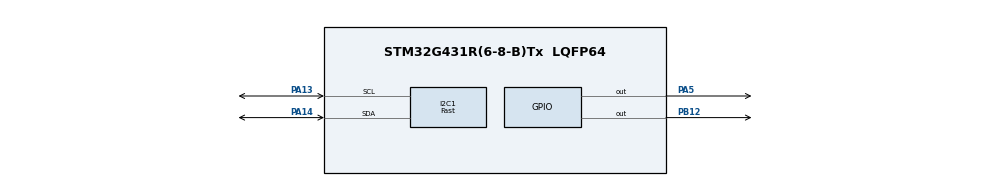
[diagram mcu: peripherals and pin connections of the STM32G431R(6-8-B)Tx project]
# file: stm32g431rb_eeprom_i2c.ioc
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I2C1.I2C_Speed_Mode=I2C_Fast
I2C1.OwnAddress=0x0
I2C1.Timing=0x10802D9B
Mcu.Family=STM32G4
Mcu.Name=STM32G431R(6-8-B)Tx
Mcu.Package=LQFP64
NVIC.PriorityGroup=NVIC_PRIORITYGROUP_4
PA13.Mode=I2C
PA13.Signal=I2C1_SCL
PA14.Mode=I2C
PA14.Signal=I2C1_SDA
PA5.Signal=GPIO_Output
PB12.PinState=GPIO_PIN_SET
PB12.Signal=GPIO_Output
ProjectManager.HeapSize=0x200
ProjectManager.StackSize=0x400
ProjectManager.TargetToolchain=STM32CubeIDE
RCC.ADC12Freq_Value=170000000
RCC.AHBFreq_Value=170000000
RCC.APB1Freq_Value=170000000
RCC.APB1TimFreq_Value=170000000
RCC.APB2Freq_Value=170000000
RCC.APB2TimFreq_Value=170000000
RCC.CortexFreq_Value=170000000
RCC.EXTERNAL_CLOCK_VALUE=12288000
RCC.HCLKFreq_Value=170000000
RCC.HSE_VALUE=8000000
RCC.HSI48_VALUE=48000000
RCC.HSI_VALUE=16000000
RCC.LSE_VALUE=32768
RCC.PLLM=RCC_PLLM_DIV4
RCC.PLLN=85
RCC.PWR_Regulator_Voltage_Scale=PWR_REGULATOR_VOLTAGE_SCALE1_BOOST
RCC.SYSCLKFreq_VALUE=170000000
RCC.SYSCLKSource=RCC_SYSCLKSOURCE_PLLCLK
RCC.USBFreq_Value=170000000
RCC.VCOOutputFreq_Value=340000000
VP_SYS_VS_DBSignals.Mode=DisableDeadBatterySignals
board=custom

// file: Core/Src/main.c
/* USER CODE BEGIN Header */
/**
  ******************************************************************************
  * @file           : main.c
  * @brief          : Main program body
  ******************************************************************************
  * @attention
  *
  * Copyright (c) 2023 STMicroelectronics.
  * All rights reserved.
  *
  * This software is licensed under terms that can be found in the LICENSE file
  * in the root directory of this software component.
  * If no LICENSE file comes with this software, it is provided AS-IS.
  *
  ******************************************************************************
  */
/* USER CODE END Header */
#include "main.h"

/* USER CODE BEGIN Includes */
#include "string.h"
/* USER CODE END Includes */

void SystemClock_Config(void);
static void MX_GPIO_Init(void);
static void MX_I2C1_Init(void);

/* USER CODE BEGIN 0 */
#define M24C04

#define I2C_DEVICE_ADDR (0xA8) /*should be changed depends : 1  0  1  0 E2 E1 A8 RW */

static int8_t i2c_write_page_eeprom(uint16_t address, uint8_t *buffer, uint16_t size);
static int8_t i2c_write_eeprom(uint16_t address, uint8_t *buffer, uint16_t size);
static int8_t i2c_read_eeprom(uint16_t address, uint8_t *buffer, uint16_t size);
static int8_t i2c_read_seq_eeprom(uint16_t address, uint8_t *buffer, uint16_t size);

#define MAX_LEN (512)
uint8_t rx_buff[MAX_LEN];
uint8_t tx_buff[MAX_LEN] = {
    0xA0, 0xA1, 0xA2, 0xA3, 0xA4, 0xA5, 0xA6, 0xA7, 0xA8, 0x09, 0x0A, 0x0B, 0x0C, 0x0D, 0x0E, 0x0F,
    0x10, 0x11, 0x12, 0x13, 0x14, 0x15, 0x16, 0x17, 0x18, 0x19, 0x1A, 0x1B, 0x1C, 0x1D, 0x1E, 0x1F,
    0x20, 0x21, 0x22, 0x23, 0x24, 0x25, 0x26, 0x27, 0x28, 0x29, 0x2A, 0x2B, 0x2C, 0x2D, 0x2E, 0x2F,
    0x30, 0x31, 0x32, 0x33, 0x34, 0x35, 0x36, 0x37, 0x38, 0x39, 0x3A, 0x3B, 0x3C, 0x3D, 0x3E, 0x3F,
    0x40, 0x41, 0x42, 0x43, 0x44, 0x45, 0x46, 0x47, 0x48, 0x49, 0x4A, 0x4B, 0x4C, 0x4D, 0x4E, 0x4F,
    0x50, 0x51, 0x52, 0x53, 0x54, 0x55, 0x56, 0x57, 0x58, 0x59, 0x5A, 0x5B, 0x5C, 0x5D, 0x5E, 0x5F,
    0x60, 0x61, 0x62, 0x63, 0x64, 0x65, 0x66, 0x67, 0x68, 0x69, 0x6A, 0x6B, 0x6C, 0x6D, 0x6E, 0x6F,
    0x70, 0x71, 0x72, 0x73, 0x74, 0x75, 0x76, 0x77, 0x78, 0x79, 0x7A, 0x7B, 0x7C, 0x7D, 0x7E, 0x7F,
    0x80, 0x81, 0x82, 0x83, 0x84, 0x85, 0x86, 0x87, 0x88, 0x89, 0x8A, 0x8B, 0x8C, 0x8D, 0x8E, 0x8F,
    0x90, 0x91, 0x92, 0x93, 0x94, 0x95, 0x96, 0x97, 0x98, 0x99, 0x9A, 0x9B, 0x9C, 0x9D, 0x9E, 0x9F,
    0xA0, 0xA1, 0xA2, 0xA3, 0xA4, 0xA5, 0xA6, 0xA7, 0xA8, 0xA9, 0xAA, 0xAB, 0xAC, 0xAD, 0xAE, 0xAF,
    0xB0, 0xB1, 0xB2, 0xB3, 0xB4, 0xB5, 0xB6, 0xB7, 0xB8, 0xB9, 0xBA, 0xBB, 0xBC, 0xBD, 0xBE, 0xBF,
    0xC0, 0xC1, 0xC2, 0xC3, 0xC4, 0xC5, 0xC6, 0xC7, 0xC8, 0xC9, 0xCA, 0xCB, 0xCC, 0xCD, 0xCE, 0xCF,
    0xD0, 0xD1, 0xD2, 0xD3, 0xD4, 0xD5, 0xD6, 0xD7, 0xD8, 0xD9, 0xDA, 0xDB, 0xDC, 0xDD, 0xDE, 0xDF,
    0xE0, 0xE1, 0xE2, 0xE3, 0xE4, 0xE5, 0xE6, 0xE7, 0xE8, 0xE9, 0xEA, 0xEB, 0xEC, 0xED, 0xEE, 0xEF,
    0xF0, 0xF1, 0xF2, 0xF3, 0xF4, 0xF5, 0xF6, 0xF7, 0xF8, 0xF9, 0xFA, 0xFB, 0xFC, 0xFD, 0xFE, 0x00,
    0x00, 0x01, 0x02, 0x03, 0x04, 0x05, 0x06, 0x07, 0x08, 0x09, 0x0A, 0x0B, 0x0C, 0x0D, 0x0E, 0x0F,
    0x10, 0x11, 0x12, 0x13, 0x14, 0x15, 0x16, 0x17, 0x18, 0x19, 0x1A, 0x1B, 0x1C, 0x1D, 0x1E, 0x1F,
    0x20, 0x21, 0x22, 0x23, 0x24, 0x25, 0x26, 0x27, 0x28, 0x29, 0x2A, 0x2B, 0x2C, 0x2D, 0x2E, 0x2F,
    0x30, 0x31, 0x32, 0x33, 0x34, 0x35, 0x36, 0x37, 0x38, 0x39, 0x3A, 0x3B, 0x3C, 0x3D, 0x3E, 0x3F,
    0x40, 0x41, 0x42, 0x43, 0x44, 0x45, 0x46, 0x47, 0x48, 0x49, 0x4A, 0x4B, 0x4C, 0x4D, 0x4E, 0x4F,
    0x50, 0x51, 0x52, 0x53, 0x54, 0x55, 0x56, 0x57, 0x58, 0x59, 0x5A, 0x5B, 0x5C, 0x5D, 0x5E, 0x5F,
    0x60, 0x61, 0x62, 0x63, 0x64, 0x65, 0x66, 0x67, 0x68, 0x69, 0x6A, 0x6B, 0x6C, 0x6D, 0x6E, 0x6F,
    0x70, 0x71, 0x72, 0x73, 0x74, 0x75, 0x76, 0x77, 0x78, 0x79, 0x7A, 0x7B, 0x7C, 0x7D, 0x7E, 0x7F,
    0x80, 0x81, 0x82, 0x83, 0x84, 0x85, 0x86, 0x87, 0x88, 0x89, 0x8A, 0x8B, 0x8C, 0x8D, 0x8E, 0x8F,
    0x90, 0x91, 0x92, 0x93, 0x94, 0x95, 0x96, 0x97, 0x98, 0x99, 0x9A, 0x9B, 0x9C, 0x9D, 0x9E, 0x9F,
    0xA0, 0xA1, 0xA2, 0xA3, 0xA4, 0xA5, 0xA6, 0xA7, 0xA8, 0xA9, 0xAA, 0xAB, 0xAC, 0xAD, 0xAE, 0xAF,
    0xB0, 0xB1, 0xB2, 0xB3, 0xB4, 0xB5, 0xB6, 0xB7, 0xB8, 0xB9, 0xBA, 0xBB, 0xBC, 0xBD, 0xBE, 0xBF,
    0xC0, 0xC1, 0xC2, 0xC3, 0xC4, 0xC5, 0xC6, 0xC7, 0xC8, 0xC9, 0xCA, 0xCB, 0xCC, 0xCD, 0xCE, 0xCF,
    0xD0, 0xD1, 0xD2, 0xD3, 0xD4, 0xD5, 0xD6, 0xD7, 0xD8, 0xD9, 0xDA, 0xDB, 0xDC, 0xDD, 0xDE, 0xDF,
    0xE0, 0xE1, 0xE2, 0xE3, 0xE4, 0xE5, 0xE6, 0xE7, 0xE8, 0xE9, 0xEA, 0xEB, 0xEC, 0xED, 0xEE, 0xEF,
    0xF0, 0xF1, 0xF2, 0xF3, 0xF4, 0xF5, 0xF6, 0xF7, 0xF8, 0xF9, 0x40, 0x41, 0x42, 0x43, 0x44, 0x45,
};

uint8_t tx_buff16[16] = {
    0xB0, 0xB1, 0xB2, 0xB3, 0xB4, 0xB5, 0xB6, 0xB7, 0xB8, 0xB9, 0xBA, 0xBB, 0xBC, 0xBD, 0xBE, 0xBF,
};
/* USER CODE END 0 */

int main(void)
{
  /* USER CODE BEGIN 1 */
  memset(rx_buff, 0x00, MAX_LEN);
  /* USER CODE END 1 */

  /* MCU Configuration--------------------------------------------------------*/

  /* Reset of all peripherals, Initializes the Flash interface and the Systick. */
  LL_APB2_GRP1_EnableClock(LL_APB2_GRP1_PERIPH_SYSCFG);
  LL_APB1_GRP1_EnableClock(LL_APB1_GRP1_PERIPH_PWR);

  /* System interrupt init*/
  NVIC_SetPriorityGrouping(NVIC_PRIORITYGROUP_4);

  /* SysTick_IRQn interrupt configuration */
  NVIC_SetPriority(SysTick_IRQn, NVIC_EncodePriority(NVIC_GetPriorityGrouping(),15, 0));

  /** Disable the internal Pull-Up in Dead Battery pins of UCPD peripheral
  */
  LL_PWR_DisableUCPDDeadBattery();

  /* Configure the system clock */
  SystemClock_Config();

  /* Initialize all configured peripherals */
  MX_GPIO_Init();
  MX_I2C1_Init();

  /* Infinite loop */
  /* USER CODE BEGIN WHILE */
  if(i2c_write_page_eeprom(0x0010, tx_buff16, 16) != 0)
  {
    Error_Handler();
  }

  if(i2c_read_eeprom(0x0000, rx_buff, MAX_LEN) != 0)
  {
    Error_Handler();
  }

  while (1)
  {
    LL_GPIO_TogglePin(GPIOA, LL_GPIO_PIN_5);
    LL_mDelay(5);

    if(i2c_write_eeprom(0x0000, tx_buff, MAX_LEN) != 0)
    {
      Error_Handler();
    }

    if(i2c_read_seq_eeprom(0x0000, rx_buff, MAX_LEN) != 0) /* over 256 ... have problem */
    {
      Error_Handler();
    }

    for(int i=0; i<MAX_LEN; i++)
    {
      if(tx_buff[i] != rx_buff[i])
      {
        Error_Handler();
      }
    }
    /* USER CODE END WHILE */

  }
}

void SystemClock_Config(void)
{
  LL_FLASH_SetLatency(LL_FLASH_LATENCY_4);
  while(LL_FLASH_GetLatency() != LL_FLASH_LATENCY_4)
  {
  }
  LL_PWR_EnableRange1BoostMode();
  LL_RCC_HSI_Enable();
   /* Wait till HSI is ready */
  while(LL_RCC_HSI_IsReady() != 1)
  {
  }

  LL_RCC_HSI_SetCalibTrimming(64);
  LL_RCC_PLL_ConfigDomain_SYS(LL_RCC_PLLSOURCE_HSI, LL_RCC_PLLM_DIV_4, 85, LL_RCC_PLLR_DIV_2);
  LL_RCC_PLL_EnableDomain_SYS();
  LL_RCC_PLL_Enable();
   /* Wait till PLL is ready */
  while(LL_RCC_PLL_IsReady() != 1)
  {
  }

  LL_RCC_SetSysClkSource(LL_RCC_SYS_CLKSOURCE_PLL);
  LL_RCC_SetAHBPrescaler(LL_RCC_SYSCLK_DIV_2);
   /* Wait till System clock is ready */
  while(LL_RCC_GetSysClkSource() != LL_RCC_SYS_CLKSOURCE_STATUS_PLL)
  {
  }

  /* Insure 1�s transition state at intermediate medium speed clock*/
  for (__IO uint32_t i = (170 >> 1); i !=0; i--);

  /* Set AHB prescaler*/
  LL_RCC_SetAHBPrescaler(LL_RCC_SYSCLK_DIV_1);
  LL_RCC_SetAPB1Prescaler(LL_RCC_APB1_DIV_1);
  LL_RCC_SetAPB2Prescaler(LL_RCC_APB2_DIV_1);

  LL_Init1msTick(170000000);

  LL_SetSystemCoreClock(170000000);
}

static void MX_I2C1_Init(void)
{

  /* USER CODE BEGIN I2C1_Init 0 */
#ifdef M24C04_
  /* USER CODE END I2C1_Init 0 */

  LL_I2C_InitTypeDef I2C_InitStruct = {0};

  LL_GPIO_InitTypeDef GPIO_InitStruct = {0};

  LL_RCC_SetI2CClockSource(LL_RCC_I2C1_CLKSOURCE_PCLK1);

  LL_AHB2_GRP1_EnableClock(LL_AHB2_GRP1_PERIPH_GPIOB);
  /**I2C1 GPIO Configuration
  PB8-BOOT0   ------> I2C1_SCL
  PB9   ------> I2C1_SDA
  */
  GPIO_InitStruct.Pin = LL_GPIO_PIN_8;
  GPIO_InitStruct.Mode = LL_GPIO_MODE_ALTERNATE;
  GPIO_InitStruct.Speed = LL_GPIO_SPEED_FREQ_LOW;
  GPIO_InitStruct.OutputType = LL_GPIO_OUTPUT_OPENDRAIN;
  GPIO_InitStruct.Pull = LL_GPIO_PULL_NO;
  GPIO_InitStruct.Alternate = LL_GPIO_AF_4;
  LL_GPIO_Init(GPIOB, &GPIO_InitStruct);

  GPIO_InitStruct.Pin = LL_GPIO_PIN_9;
  GPIO_InitStruct.Mode = LL_GPIO_MODE_ALTERNATE;
  GPIO_InitStruct.Speed = LL_GPIO_SPEED_FREQ_LOW;
  GPIO_InitStruct.OutputType = LL_GPIO_OUTPUT_OPENDRAIN;
  GPIO_InitStruct.Pull = LL_GPIO_PULL_NO;
  GPIO_InitStruct.Alternate = LL_GPIO_AF_4;
  LL_GPIO_Init(GPIOB, &GPIO_InitStruct);

  /* Peripheral clock enable */
  LL_APB1_GRP1_EnableClock(LL_APB1_GRP1_PERIPH_I2C1);

  /* USER CODE BEGIN I2C1_Init 1 */
#else
  LL_I2C_InitTypeDef I2C_InitStruct = {0};

  LL_GPIO_InitTypeDef GPIO_InitStruct = {0};

  LL_RCC_SetI2CClockSource(LL_RCC_I2C1_CLKSOURCE_PCLK1);

  LL_AHB2_GRP1_EnableClock(LL_AHB2_GRP1_PERIPH_GPIOB);
  /**I2C1 GPIO Configuration
  PB8-BOOT0   ------> I2C1_SCL
  PB9   ------> I2C1_SDA
  */
  GPIO_InitStruct.Pin = LL_GPIO_PIN_8;
  GPIO_InitStruct.Mode = LL_GPIO_MODE_ALTERNATE;
  GPIO_InitStruct.Speed = LL_GPIO_SPEED_FREQ_LOW;
  GPIO_InitStruct.OutputType = LL_GPIO_OUTPUT_OPENDRAIN;
  GPIO_InitStruct.Pull = LL_GPIO_PULL_NO;
  GPIO_InitStruct.Alternate = LL_GPIO_AF_4;
  LL_GPIO_Init(GPIOB, &GPIO_InitStruct);

  GPIO_InitStruct.Pin = LL_GPIO_PIN_9;
  GPIO_InitStruct.Mode = LL_GPIO_MODE_ALTERNATE;
  GPIO_InitStruct.Speed = LL_GPIO_SPEED_FREQ_LOW;
  GPIO_InitStruct.OutputType = LL_GPIO_OUTPUT_OPENDRAIN;
  GPIO_InitStruct.Pull = LL_GPIO_PULL_NO;
  GPIO_InitStruct.Alternate = LL_GPIO_AF_4;
  LL_GPIO_Init(GPIOB, &GPIO_InitStruct);

  /* Peripheral clock enable */
  LL_APB1_GRP1_EnableClock(LL_APB1_GRP1_PERIPH_I2C1);
#endif
  /* USER CODE END I2C1_Init 1 */

  /** I2C Initialization
  */
  LL_I2C_DisableClockStretching(I2C1);
  I2C_InitStruct.PeripheralMode = LL_I2C_MODE_I2C;
  I2C_InitStruct.Timing = 0xC030334C;
  I2C_InitStruct.AnalogFilter = LL_I2C_ANALOGFILTER_ENABLE;
  I2C_InitStruct.DigitalFilter = 0;
  I2C_InitStruct.OwnAddress1 = 0;
  I2C_InitStruct.TypeAcknowledge = LL_I2C_ACK;
  I2C_InitStruct.OwnAddrSize = LL_I2C_OWNADDRESS1_7BIT;
  LL_I2C_Init(I2C1, &I2C_InitStruct);
  LL_I2C_EnableAutoEndMode(I2C1);
  LL_I2C_SetOwnAddress2(I2C1, 0, LL_I2C_OWNADDRESS2_NOMASK);
  LL_I2C_DisableOwnAddress2(I2C1);
  LL_I2C_DisableGeneralCall(I2C1);

}

static void MX_GPIO_Init(void)
{
  LL_GPIO_InitTypeDef GPIO_InitStruct = {0};

  /* GPIO Ports Clock Enable */
  LL_AHB2_GRP1_EnableClock(LL_AHB2_GRP1_PERIPH_GPIOA);
  LL_AHB2_GRP1_EnableClock(LL_AHB2_GRP1_PERIPH_GPIOB);
  LL_AHB2_GRP1_EnableClock(LL_AHB2_GRP1_PERIPH_GPIOC);

  /**/
  LL_GPIO_ResetOutputPin(GPIOA, LL_GPIO_PIN_5);

  /**/
  LL_GPIO_SetOutputPin(GPIOB, LL_GPIO_PIN_12);

  /**/
  LL_GPIO_SetOutputPin(GPIOC, LL_GPIO_PIN_9);

  /**/
  GPIO_InitStruct.Pin = LL_GPIO_PIN_5;
  GPIO_InitStruct.Mode = LL_GPIO_MODE_OUTPUT;
  GPIO_InitStruct.Speed = LL_GPIO_SPEED_FREQ_LOW;
  GPIO_InitStruct.OutputType = LL_GPIO_OUTPUT_PUSHPULL;
  GPIO_InitStruct.Pull = LL_GPIO_PULL_NO;
  LL_GPIO_Init(GPIOA, &GPIO_InitStruct);

  /**/
  GPIO_InitStruct.Pin = LL_GPIO_PIN_12;
  GPIO_InitStruct.Mode = LL_GPIO_MODE_OUTPUT;
  GPIO_InitStruct.Speed = LL_GPIO_SPEED_FREQ_LOW;
  GPIO_InitStruct.OutputType = LL_GPIO_OUTPUT_PUSHPULL;
  GPIO_InitStruct.Pull = LL_GPIO_PULL_NO;
  LL_GPIO_Init(GPIOB, &GPIO_InitStruct);

  /**/
  GPIO_InitStruct.Pin = LL_GPIO_PIN_9;
  GPIO_InitStruct.Mode = LL_GPIO_MODE_OUTPUT;
  GPIO_InitStruct.Speed = LL_GPIO_SPEED_FREQ_LOW;
  GPIO_InitStruct.OutputType = LL_GPIO_OUTPUT_PUSHPULL;
  GPIO_InitStruct.Pull = LL_GPIO_PULL_NO;
  LL_GPIO_Init(GPIOC, &GPIO_InitStruct);

}

/* USER CODE BEGIN 4 */
static void i2c_soft_reset(void)
{
  I2C1->CR2 &= (uint32_t)~((uint32_t)(I2C_CR2_SADD | I2C_CR2_HEAD10R | I2C_CR2_NBYTES | I2C_CR2_RELOAD | I2C_CR2_RD_WRN));
  I2C1->CR1 &= ~I2C_CR1_PE;

  while(I2C1->CR1 & I2C_CR1_PE){};
  I2C1->CR1 |= I2C_CR1_PE;
}

static int8_t i2c_wait_flag(uint32_t flag, uint32_t status, int32_t timeout)
{
  while(READ_BIT(I2C1->ISR, flag) == status)
  {
    if(timeout == 0)
    {
      i2c_soft_reset();
      return -1;
    }

    timeout--;
  }
  return 0;
}

static int8_t i2c_write_eeprom(uint16_t address, uint8_t *buffer, uint16_t size)
{
  uint16_t XferCount;
  uint8_t *ptr_buffer;
  XferCount = size;

  if(size > 512)  /* verify eeprom max length*/
  {
    return -1;
  }

  ptr_buffer = buffer;

  LL_GPIO_ResetOutputPin(GPIOB, LL_GPIO_PIN_12);  //WC Control

  while(XferCount)
  {
    //Busy check
    if(i2c_wait_flag(I2C_ISR_BUSY, I2C_ISR_BUSY, 0x00FFFFFF) != 0)
    {
      LL_GPIO_SetOutputPin(GPIOB, LL_GPIO_PIN_12);  //WC Control
      return -1;
    }

    //Set configuration and start condition
    LL_I2C_HandleTransfer(I2C1,
                          I2C_DEVICE_ADDR | ((uint16_t)(address >> 7) & (0x0002)),
                          LL_I2C_ADDRSLAVE_7BIT,
                          2,
                          LL_I2C_MODE_AUTOEND,
                          LL_I2C_GENERATE_START_WRITE);

    if(i2c_wait_flag(I2C_ISR_TXIS, 0, 0x00FFFFFF) != 0)
    {
      LL_GPIO_SetOutputPin(GPIOB, LL_GPIO_PIN_12);  //WC Control
      return -1;
    }

    //Set memory address
    LL_I2C_TransmitData8(I2C1, ((uint8_t)((uint16_t)((address) & (uint16_t)(0x00FFU)))));

    //transfer data
    if(i2c_wait_flag(I2C_ISR_TXIS, 0, 0x00FFFFFF) != 0)
    {
      LL_GPIO_SetOutputPin(GPIOB, LL_GPIO_PIN_12);  //WC Control
      return -1;
    }

    LL_I2C_TransmitData8(I2C1, *ptr_buffer);

    //wait for stop condition
    if(i2c_wait_flag(I2C_ISR_STOPF, 0, 0x00FFFFFF) != 0)
    {
      LL_GPIO_SetOutputPin(GPIOB, LL_GPIO_PIN_12);  //WC Control
      return -1;
    }

    //clear stop flag
    LL_I2C_ClearFlag_STOP(I2C1);

    //reset CR2 of I2C
    I2C1->CR2 &= (uint32_t)~((uint32_t)(I2C_CR2_SADD | I2C_CR2_HEAD10R | I2C_CR2_NBYTES | I2C_CR2_RELOAD | I2C_CR2_RD_WRN));

    XferCount--;
    ptr_buffer++;
    address++;

    LL_mDelay(5); /* Write time Max 5msec */

  }
  LL_GPIO_SetOutputPin(GPIOB, LL_GPIO_PIN_12);  //WC Control
  return 0;
}

static int8_t i2c_write_page_eeprom(uint16_t address, uint8_t *buffer, uint16_t size)
{
  uint16_t XferCount;
  uint8_t *ptr_buffer;
  XferCount = size;

  if(size > 16)  /* verify eeprom max page length*/
  {
    return -1;
  }

  if(((address%16)+size) > 16)  /* wrong align*/
  {
    return -1;
  }

  ptr_buffer = buffer;

  LL_GPIO_ResetOutputPin(GPIOB, LL_GPIO_PIN_12);  //WC Control

  //Busy check
  if(i2c_wait_flag(I2C_ISR_BUSY, I2C_ISR_BUSY, 0x00FFFFFF) != 0)
  {
    LL_GPIO_SetOutputPin(GPIOB, LL_GPIO_PIN_12);  //WC Control
    return -1;
  }

  //Set configuration and start condition
  LL_I2C_HandleTransfer(I2C1,
                        I2C_DEVICE_ADDR | ((uint16_t)(address >> 7) & (0x0002)),
                        LL_I2C_ADDRSLAVE_7BIT,
                        1 + size,
                        LL_I2C_MODE_AUTOEND,
                        LL_I2C_GENERATE_START_WRITE);

  if(i2c_wait_flag(I2C_ISR_TXIS, 0, 0x00FFFFFF) != 0)
  {
    LL_GPIO_SetOutputPin(GPIOB, LL_GPIO_PIN_12);  //WC Control
    return -1;
  }

  //Set memory address
  LL_I2C_TransmitData8(I2C1, ((uint8_t)((uint16_t)((address) & (uint16_t)(0x00FFU)))));

  while(XferCount)
  {
    if(i2c_wait_flag(I2C_ISR_TXIS, 0, 0x00FFFFFF) != 0)
    {
      LL_GPIO_SetOutputPin(GPIOB, LL_GPIO_PIN_12);  //WC Control
      return -1;
    }

    //Set memory address
    LL_I2C_TransmitData8(I2C1, *ptr_buffer);

    XferCount--;
    ptr_buffer++;
  }

  //wait for stop condition
  if(i2c_wait_flag(I2C_ISR_STOPF, 0, 0x00FFFFFF) != 0)
  {
    LL_GPIO_SetOutputPin(GPIOB, LL_GPIO_PIN_12);  //WC Control
    return -1;
  }

  //clear stop flag
  LL_I2C_ClearFlag_STOP(I2C1);

  //reset CR2 of I2C
  I2C1->CR2 &= (uint32_t)~((uint32_t)(I2C_CR2_SADD | I2C_CR2_HEAD10R | I2C_CR2_NBYTES | I2C_CR2_RELOAD | I2C_CR2_RD_WRN));

  LL_mDelay(5); /* Write time Max 5msec */

  LL_GPIO_SetOutputPin(GPIOB, LL_GPIO_PIN_12);  //WC Control
  return 0;
}

static int8_t i2c_read_eeprom(uint16_t address, uint8_t *buffer, uint16_t size)
{
  uint16_t XferCount;
  uint8_t *ptr_buffer;

  if(size > 512)  /* verify eeprom max length*/
  {
    return -1;
  }

  XferCount = size;
  ptr_buffer = buffer;

  //Busy check
  if(i2c_wait_flag(I2C_ISR_BUSY, I2C_ISR_BUSY, 0x00FFFFFF) != 0)
  {
    return -1;
  }

  while(XferCount)
  {

    LL_I2C_HandleTransfer(I2C1,
                          I2C_DEVICE_ADDR | ((uint16_t)(address >> 7) & (0x0002)),
                          LL_I2C_ADDRSLAVE_7BIT,
                          1,
                          LL_I2C_MODE_SOFTEND,
                          LL_I2C_GENERATE_START_WRITE);

    if(i2c_wait_flag(I2C_ISR_TXIS, 0, 0x00FFFFFF) != 0)
    {
      return -1;
    }

    //Set memory address
    LL_I2C_TransmitData8(I2C1, ((uint8_t)((uint16_t)((address) & (uint16_t)(0x00FFU)))));

    if(i2c_wait_flag(I2C_ISR_TC, 0, 0x00FFFFFF) != 0)
    {
      return -1;
    }

    LL_I2C_HandleTransfer(I2C1,
                          I2C_DEVICE_ADDR | ((uint16_t)(address >> 7) & (0x0002)),
                          LL_I2C_ADDRSLAVE_7BIT,
                          1,
                          LL_I2C_MODE_AUTOEND,
                          LL_I2C_GENERATE_START_READ);

    //Check RX empty
    if(i2c_wait_flag(I2C_ISR_RXNE, 0, 0x00FFFFFF) != 0)
    {
      return -1;
    }

    *ptr_buffer = LL_I2C_ReceiveData8(I2C1);

    //wait for stop condition
    if(i2c_wait_flag(I2C_ISR_STOPF, 0, 0x00FFFFFF) != 0)
    {
      return -1;
    }

    //clear stop flag
    LL_I2C_ClearFlag_STOP(I2C1);

    //reset CR2 of I2C
    I2C1->CR2 &= (uint32_t)~((uint32_t)(I2C_CR2_SADD | I2C_CR2_HEAD10R | I2C_CR2_NBYTES | I2C_CR2_RELOAD | I2C_CR2_RD_WRN));

    ptr_buffer++;
    XferCount--;
    address++;
  }

  return 0;
}

static int8_t i2c_read_seq_eeprom(uint16_t address, uint8_t *buffer, uint16_t size)
{
  uint16_t XferCount, XferSize;
  uint8_t *ptr_buffer;

  if(size > 512)  /* verify eeprom max length*/
  {
    return -1;
  }

  XferCount = size;
  ptr_buffer = buffer;

  //Busy check
  if(i2c_wait_flag(I2C_ISR_BUSY, I2C_ISR_BUSY, 0x00FFFFFF) != 0)
  {
    return -1;
  }

  //Set configuration and start condition
  LL_I2C_HandleTransfer(I2C1,
                        I2C_DEVICE_ADDR | ((uint16_t)(address >> 7) & (0x0002)),
                        LL_I2C_ADDRSLAVE_7BIT,
                        1,
                        LL_I2C_MODE_SOFTEND,
                        LL_I2C_GENERATE_START_WRITE);

  if(i2c_wait_flag(I2C_ISR_TXIS, 0, 0x00FFFFFF) != 0)
  {
    return -1;
  }

  //Set memory address
  LL_I2C_TransmitData8(I2C1, ((uint8_t)((uint16_t)((address) & (uint16_t)(0x00FFU)))));

  if(i2c_wait_flag(I2C_ISR_TC, 0, 0x00FFFFFF) != 0)
  {
    return -1;
  }

  //Set device configuration and start condition again
  if(XferCount > 255)
  {
    XferSize = 255;
    LL_I2C_HandleTransfer(I2C1,
                          I2C_DEVICE_ADDR | ((uint16_t)(address >> 7) & (0x0002)),
                          LL_I2C_ADDRSLAVE_7BIT,
                          XferSize,
                          LL_I2C_MODE_RELOAD,
                          LL_I2C_GENERATE_START_READ);
  }
  else
  {
    XferSize = XferCount;
    LL_I2C_HandleTransfer(I2C1,
                          I2C_DEVICE_ADDR | ((uint16_t)(address >> 7) & (0x0002)),
                          LL_I2C_ADDRSLAVE_7BIT,
                          XferSize,
                          LL_I2C_MODE_AUTOEND,
                          LL_I2C_GENERATE_START_READ);
  }

  //read data
  do
  {
    //Check RX empty
    if(i2c_wait_flag(I2C_ISR_RXNE, 0, 0x00FFFFFF) != 0)
    {
      return -1;
    }

    *ptr_buffer = LL_I2C_ReceiveData8(I2C1);
    ptr_buffer++;
    XferSize--;
    XferCount--;

    //Check and re-configuration for N-byte
    if ((XferCount != 0U) && (XferSize == 0U))
    {
      if(i2c_wait_flag(I2C_ISR_TCR, 0, 0x00FFFFFF) != 0)
      {
        return -1;
      }

      if (XferCount > 255)
      {
        XferSize = 255;
        LL_I2C_HandleTransfer(I2C1,
                              I2C_DEVICE_ADDR | ((uint16_t)(address >> 7) & (0x0002)),
                              LL_I2C_ADDRSLAVE_7BIT,
                              XferSize,
                              LL_I2C_MODE_RELOAD,
                              LL_I2C_GENERATE_NOSTARTSTOP);
      }
      else
      {
        XferSize = XferCount;
        LL_I2C_HandleTransfer(I2C1,
                              I2C_DEVICE_ADDR | ((uint16_t)(address >> 7) & (0x0002)),
                              LL_I2C_ADDRSLAVE_7BIT,
                              XferSize,
                              LL_I2C_MODE_AUTOEND,
                              LL_I2C_GENERATE_NOSTARTSTOP);
      }
    }
  }while(XferCount > 0);

  //wait for stop condition
  if(i2c_wait_flag(I2C_ISR_STOPF, 0, 0x00FFFFFF) != 0)
  {
    return -1;
  }

  //clear stop flag
  LL_I2C_ClearFlag_STOP(I2C1);

  //reset CR2 of I2C
  I2C1->CR2 &= (uint32_t)~((uint32_t)(I2C_CR2_SADD | I2C_CR2_HEAD10R | I2C_CR2_NBYTES | I2C_CR2_RELOAD | I2C_CR2_RD_WRN));

  return 0;
}
/* USER CODE END 4 */

void Error_Handler(void)
{
  __disable_irq();
  while (1)
  {
  }
}
